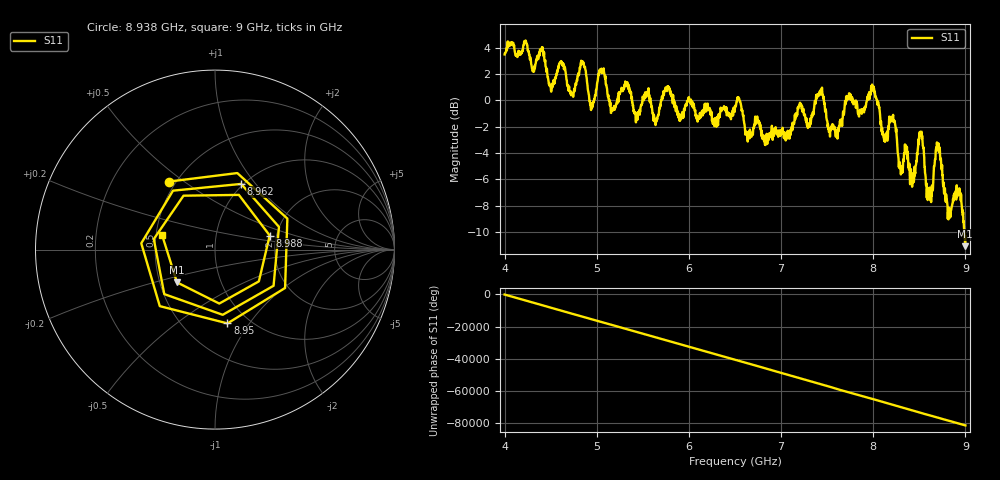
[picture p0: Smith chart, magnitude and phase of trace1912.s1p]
! Created with skrf 1.8.0 (http://scikit-rf.org).
# Hz S RI R 50.0
!freq ReS11 ImS11
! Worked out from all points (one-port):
!   1601 points, 4 GHz to 9 GHz, reference 50 ohm
!   lowest |S11| = -11.1 dB at 8.997 GHz (marker M1), VSWR 1.78, Z = 30.7 - j12.1 ohm
!   |S11| at or under -10 dB: 8.987676 GHz to end of sweep
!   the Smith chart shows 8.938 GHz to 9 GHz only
!   S11 on the Smith chart (normalised r, x): 8.938 GHz: 0.46, +0.44; 8.95 GHz: 0.80, -0.79; 8.962 GHz: 0.98, +0.85; 8.988 GHz: 1.84, +0.32; 9 GHz: 0.54, +0.09
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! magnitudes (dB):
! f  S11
! 4 GHz  3.5
! 4.625 GHz  2.8
! 4.728 GHz  0.6
! 4.85 GHz  3.0
! 4.944 GHz  -0.3
! 5.05 GHz  2.4
! 5.166 GHz  -0.6
! 5.25 GHz  0.5
! 5.875 GHz  -1.1
! 6.5 GHz  -0.4
! 7.125 GHz  -1.7
! 7.428 GHz  0.6
! 7.603 GHz  -2.5
! 7.75 GHz  0.5
! 8 GHz  0.9
! 8.112 GHz  -2.8
! 8.375 GHz  -4.2
! 8.438 GHz  -5.7
! 8.522 GHz  -2.4
! 8.616 GHz  -6.6
! 8.703 GHz  -3.4
! 8.822 GHz  -8.1
! 8.938 GHz  -6.8
! 8.95 GHz  -7.6
! 8.962 GHz  -8.1
! 8.988 GHz  -10.0
! 8.997 GHz  -11.1
! 9 GHz  -10.3
